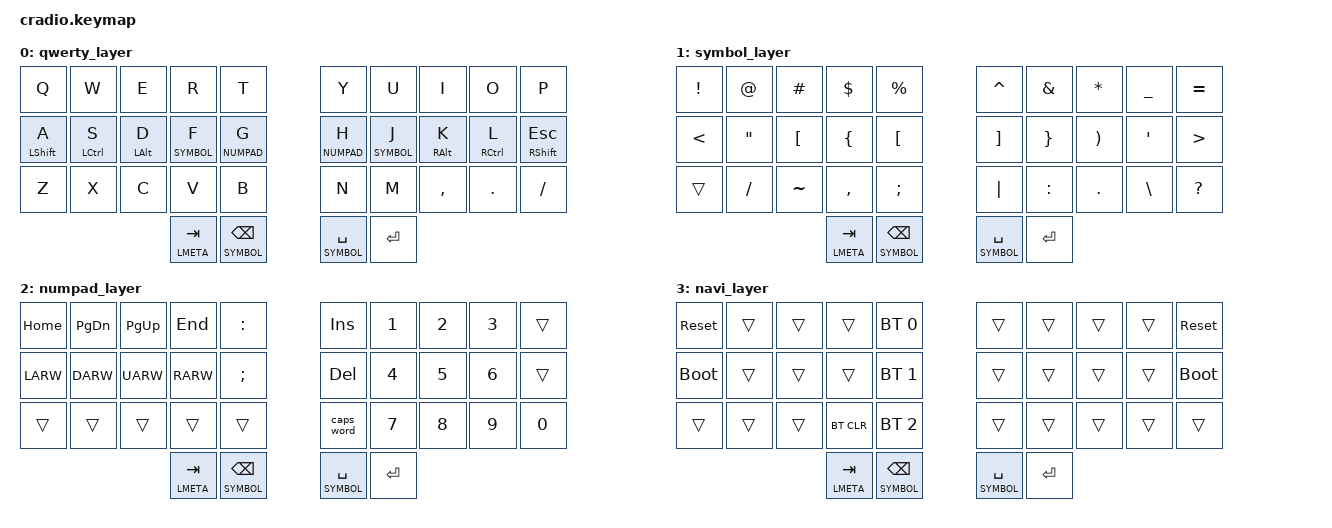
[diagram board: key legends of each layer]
// Copyright (c) 2022 The ZMK Contributors
// SPDX-License-Identifier: MIT

#include <behaviors.dtsi>
#include <dt-bindings/zmk/keys.h>
#include <dt-bindings/zmk/bt.h>

// Home row mods macro
#define HRML(k1,k2,k3,k4) &ht LSHFT k1  &ht LALT k2  &ht LCTRL k3  &ht LGUI k4
#define HRMR(k1,k2,k3,k4) &ht RGUI k1  &ht RCTRL k2  &ht RALT k3  &ht RSHFT k4

// Layers
#define QWERTY  0
#define SYMBOL  1
#define NUMPAD  2
#define NAVIGL  3


/ {
    behaviors {
        ht: hold_tap {
            compatible = "zmk,behavior-hold-tap";
            #binding-cells = <2>;
            flavor = "tap-preferred";
            tapping-term-ms = <220>;
            quick-tap-ms = <150>;
            require-prior-idle-ms = <100>;
            bindings = <&kp>, <&kp>;
        };
    };

    conditional_layers {
        compatible = "zmk,conditional-layers";
        navi_layer {
            if-layers = <1 2>;
            then-layer = <3>;
        };
    };

    keymap {
        compatible = "zmk,keymap";

        qwerty_layer {
          bindings = <
        //╭─────────--─-┬────────---─┬──────────--┬──────────---┬──────--────╮   ╭────────--─-─┬─────────---─┬─────────--─┬────────--──┬──────────------
        //│  Q          │  W         │  E         │  R          │  T         │   │  Y          │  U          │  I         │  O         │  P            
            &kp Q        &kp W        &kp E        &kp R         &kp T            &kp Y         &kp U         &kp I           &kp O      &kp P         
        //├─────────--─-┼─────────---┼─────────--─┼─────────---─┼────────--──┤   ├─────────---─┼─────────---─┼─────────--─┼────────--──┼─────────-------
        //│  A          │  S         │  D         │  F          │  G         │   │  H          │  J          │  K         │  L         │  esc          
           &mt LSHFT A   &mt LCTRL S   &mt LALT D   &lt SYMBOL F   &lt NUMPAD G  &lt NUMPAD H   &lt SYMBOL J   &mt RALT K   &mt RCTRL L   &mt RSHFT ESC
        //├─────────----┼─────────--─┼──────────--┼─────────---─┼────────--──┤   ├────────---──┼─────────----┼─────────--─┼────────--──┼──────────------
        //│  Z          │  X         │  C         │  V         │  B          │   │  N          │  M          │  ,         │  .         │  /       
            &kp Z         &kp X        &kp C       &kp V        &kp B             &kp N         &kp M         &kp COMMA     &kp DOT      &kp SLASH
        //╰─────────----┴──────────--┴──────────--─────-─────---────────---──┤   ├───────────--────--───-──-────────------┴──────────--┴──────────------
                                            &mt LMETA TAB  &lt SYMBOL BSPC        &lt SYMBOL SPACE   &kp ENTER
        //                       -----------------------------------------------------------------------------
            >;
        };

        

        symbol_layer {
            bindings = <
        //╭──────────┬──────────┬──────────┬──────────┬──────────╮   ╭──────────┬──────────┬──────────┬──────────┬──────────╮
        //│    !     │  @       │  #       │  $       │  %       │   │  ^       │  &       │  *       │  _       │  =       │
            &kp EXCL   &kp AT     &kp HASH   &kp DLLR   &kp PRCNT      &kp CARET  &kp AMPS   &kp ASTRK  &kp UNDER  &kp EQUAL
        //├──────────┼──────────┼──────────┼──────────┼──────────┤   ├──────────┼──────────┼──────────┼──────────┼──────────┤
        //│  <       │  ""      │  [       │  {       │  [       │   │  ]       │  }       │  )       │  ''      │  >       │
            &kp LT     &kp DQT    &kp LBKT   &kp LBRC   &kp LBKT       &kp RBKT   &kp RBRC   &kp RPAR   &kp SQT    &kp GT
        //├──────────┼──────────┼──────────┼──────────┼──────────┤   ├──────────┼──────────┼──────────┼──────────┼──────────┤
        //│   `      │   /      │  ~       │  ,       │   ~          │  |       │  :       │  .       │   \      │  ?       │
            &trans     &kp FSLH   &kp TILDE  &kp COMMA  &kp SEMI       &kp PIPE   &kp COLON  &kp DOT    &kp BSLH   &kp QMARK
        //╰──────────┴──────────┴──────────-──────────-──────────┤   ├──────────-──────────--─────────┴──────────┴──────────╯
                                        &mt LMETA TAB  &lt SYMBOL BSPC        &lt SYMBOL SPACE   &kp ENTER
        //                             ---------------------------------------------------------
            >;
        };



        numpad_layer {
           bindings = <
        // ╭──────────┬──────────┬──────────┬──────────┬──────────╮   ╭──────────┬──────────┬──────────┬──────────┬──────────╮
        // │ HOME     │ PAGE DN  │ PAGE UP  │ END      │  :       │   │ INSERT   │  1       │  2       │  3       │  -       │
            &kp HOME   &kp PG_DN  &kp PG_UP  &kp END    &kp COLON       &kp INS    &kp N1     &kp N2     &kp N3     &trans
        // ├──────────┼──────────┼──────────┼──────────┼──────────┤   ├──────────┼──────────┼──────────┼──────────┼──────────┤
        // │ LEFT     │ DOWN     │ UP       │ RIGHT    │  ;       │   │ DELETE   │  4       │  5       │  6       │  +       │
            &kp LARW   &kp DARW   &kp UARW   &kp RARW   &kp SEMI        &kp DEL    &kp N4     &kp N5     &kp N6     &trans
        // ├──────────┼──────────┼──────────┼──────────┼──────────┤   ├──────────┼──────────┼──────────┼──────────┼──────────┤
        // │          │          │          │          │          │   │ /        │  7       │  8       │  9       │  0       │
            &trans     &trans     &trans     &trans     &trans          &caps_word &kp N7     &kp N8     &kp N9     &kp N0
        // ╰──────────┴──────────┴─────────────────────--─────────┤   ───────────-──────────--─────────┴──────────┴──────────╯
                                        &mt LMETA TAB  &lt SYMBOL BSPC        &lt SYMBOL SPACE   &kp ENTER
        //                                  ----------------------------------------------------
            >;
        };



        navi_layer {
            bindings = <
        //╭──────────┬──────────┬──────────┬──────────┬──────────╮   ╭──────────┬──────────┬──────────┬──────────┬──────────╮
        //│ RESET    │          │          │          │PROFILE 0 │   │          │          │          │          │  RESET   │
           &sys_reset  &trans     &trans     &trans    &bt BT_SEL 0    &trans     &trans     &trans     &trans    &sys_reset
        //├──────────┼──────────┼──────────┼──────────┼──────────┤   ├──────────┼──────────┼──────────┼──────────┼──────────┤
        //│BOOTLOADER│          │          │          │PROFILE 1 │   │          │          │          │          │BOOTLOADER│
          &bootloader  &trans     &trans     &trans    &bt BT_SEL 1    &trans     &trans     &trans     &trans    &bootloader
        //├──────────┼──────────┼──────────┼──────────┼──────────┤   ├──────────┼──────────┼──────────┼──────────┼──────────┤
        //│          │          │          │ CLEAR BT │PROFILE 2 │   │          │          │          │          │          │
            &trans     &trans     &trans    &bt BT_CLR &bt BT_SEL 2    &trans     &trans     &trans     &trans     &trans
        //╰──────────┴──────────┴──────────-──────────-──────────┤   ├──────────-──────────-──────────-──────────-──────────╯
                                        &mt LMETA TAB  &lt SYMBOL BSPC        &lt SYMBOL SPACE   &kp ENTER
        //                         -----------------------------------------------------------
            >;
        };
    };
};



// engrammer_layer {
//   bindings = <
// //╭──────────┬──────────┬──────────┬──────────┬──────────╮   ╭──────────┬──────────┬──────────┬──────────┬──────────╮
// //│  B       │  Y       │  O       │  U       │  '       │   │  "       │  L       │  D       │  W       │  V       │
//     &kp B      &kp Y      &kp O      &kp U      &kp QUOT       &kp SQT    &kp L      &kp D      &kp W      &kp V
// //├──────────┼──────────┼──────────┼──────────┼──────────┤   ├──────────┼──────────┼──────────┼──────────┼──────────┤
// //│  C       │  I       │  E       │  A       │  ,       │   │  .       │  H       │  T       │  S       │  N       │
//     &kp C      &kp I      &kp E      &kp A      &kp COMMA     &kp DOT    &kp H      &kp T      &kp S      &kp N
// //├──────────┼──────────┼──────────┼──────────┼──────────┤   ├──────────┼──────────┼──────────┼──────────┼──────────┤
// //│  G       │  X       │  J       │  K       │  Z       │   │  Q       │  R       │  M       │  F       │  P       │
//     &kp G      &kp X      &kp J      &kp K      &kp Z          &kp Q      &kp R      &kp M      &kp F      &kp P
// //╰──────────┴──────────┴──────────-──────────--─────────┤   ├──────────--─────────-──────────-──────────-──────────╯
//                          &mt LMETA TAB  &lt SYMBOL BSPC      &lt SYMBOL SPACE   &kp ENTER
// //                      -----------------------------------------------------------------------------
//
//     >;
// };
//
//
// // engrammer_layer {
//   bindings = <
// //╭──────────┬──────────┬──────────┬──────────┬──────────╮   ╭──────────┬──────────┬──────────┬──────────┬──────────╮
// //│  B       │  Y       │  O       │  U       │  '       │   │  "       │  L       │  D       │  W       │  V       │
//     &kp B      &kp Y      &kp O      &kp U      &kp QUOT       &kp SQT    &kp L      &kp D      &kp W      &kp V
// //├──────────┼──────────┼──────────┼──────────┼──────────┤   ├──────────┼──────────┼──────────┼──────────┼──────────┤
// //│  C       │  I       │  E       │  A       │  ,       │   │  .       │  H       │  T       │  S       │  N       │
//     &kp C      &kp I      &kp E      &kp A      &kp COMMA     &kp DOT    &kp H      &kp T      &kp S      &kp N
// //├──────────┼──────────┼──────────┼──────────┼──────────┤   ├──────────┼──────────┼──────────┼──────────┼──────────┤
// //│  G       │  X       │  J       │  K       │  Z       │   │  Q       │  R       │  M       │  F       │  P       │
//     &kp G      &kp X      &kp J      &kp K      &kp Z          &kp Q      &kp R      &kp M      &kp F      &kp P
// //╰──────────┴──────────┴──────────┼──────────┼──────────┤   ├──────────┼──────────┼──────────┴──────────┴──────────╯
//                                     &lt 2 TAB  &lt 1 BSPC     &kp SPACE   &kp ENTER
// //                                 ╰──────────┴──────────╯   ╰──────────┴──────────╯
//     >;
// };
//

// left_layer {
//     bindings = <
// //╭──────────┬──────────┬──────────┬──────────┬──────────╮   ╭──────────┬──────────┬──────────┬──────────┬──────────╮
// //│          │  [       │  {       │  }       │          │   │  ^       │  (       │  )       │  ]       │  ~       │
//     &trans     &kp LBKT   &kp LBRC   &kp RBRC   &trans         &kp CARET  &kp LPAR   &kp RPAR   &kp RBKT   &kp TILDE
// //├──────────┼──────────┼──────────┼──────────┼──────────┤   ├──────────┼──────────┼──────────┼──────────┼──────────┤
// //│  !       │  @       │  #       │  $       │  %       │   │  *       │  -       │  =       │  \       │  `       │
//     &kp EXCL   &kp AT     &kp HASH   &kp DLLR   &kp PRCNT      &kp ASTRK  &kp MINUS  &kp EQUAL  &kp BSLH   &kp GRAVE
// //├──────────┼──────────┼──────────┼──────────┼──────────┤   ├──────────┼──────────┼──────────┼──────────┼──────────┤
// //│          │          │          │          │          │   │  &       │  _       │  +       │  │       │          │
//     &trans     &trans     &trans     &trans     &trans         &kp AMPS   &kp UNDER  &kp PLUS   &kp PIPE   &trans
// //╰──────────┴──────────┴──────────┼──────────┼──────────┤   ├──────────┼──────────┼──────────┴──────────┴──────────╯
//                                      &trans     &trans         &trans     &trans
// //                                 ╰──────────┴──────────╯   ╰──────────┴──────────╯
//     >;
// };
//
